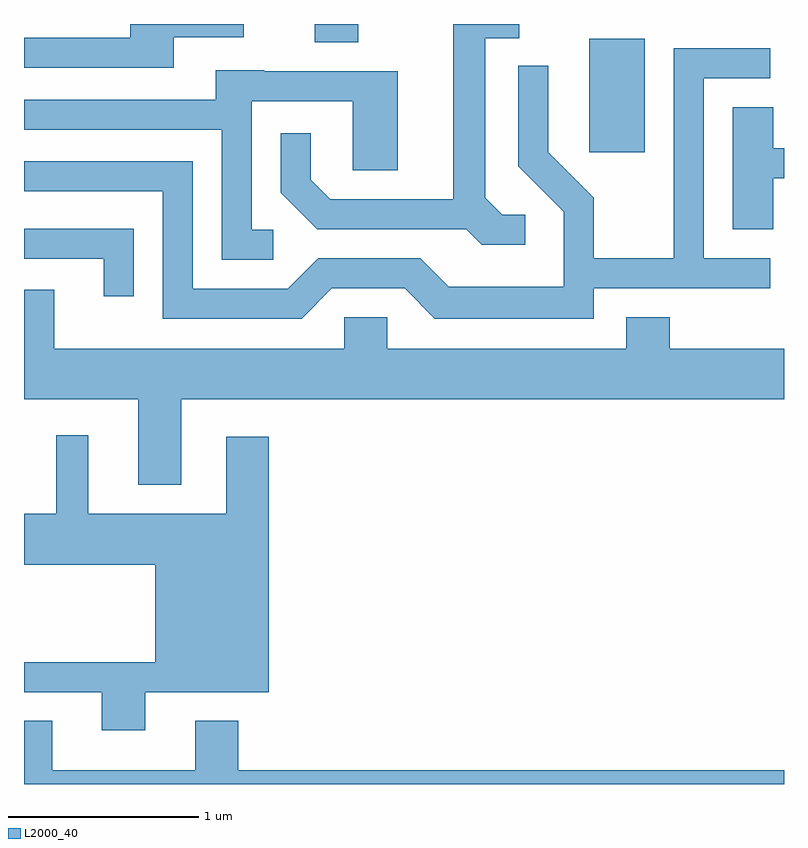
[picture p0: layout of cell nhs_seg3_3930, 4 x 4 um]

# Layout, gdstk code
import gdstk
lib = gdstk.Library(unit=1e-6, precision=1e-09)
def R(c, l, rs):  # rectangles x0, y0, x1, y1
    for r in rs: c.add(gdstk.rectangle(r[:2], r[2:], *l))
def P(c, l, *ps):  # polygons
    for p in ps: c.add(gdstk.Polygon(p, *l))
L2000_40 = (2000, 40)

nhs_seg3_3930 = lib.new_cell('nhs_seg3_3930')
R(nhs_seg3_3930, L2000_40, [(302.586,1227.216,302.879,1227.814), (301.141,1227.796,301.369,1227.892)])
P(nhs_seg3_3930, L2000_40, [(300.399,1227.821),(300.768,1227.821),(300.768,1227.892),(300.171,1227.892),(300.171,1227.819),(299.611,1227.819),(299.611,1227.661),(300.399,1227.661)],
  [(302.248,1226.889),(302.127,1226.889),(302.039,1226.977),(302.039,1227.816),(302.218,1227.816),(302.218,1227.892),(301.871,1227.892),(301.871,1226.969),(301.222,1226.969),(301.119,1227.072),(301.119,1227.318),(300.961,1227.318),(300.961,1227.004),(301.154,1226.811),(301.939,1226.811),(302.019,1226.731),(302.248,1226.731)],
  [(301.232,1226.501),(301.614,1226.501),(301.774,1226.341),(302.609,1226.341),(302.609,1226.501),(303.538,1226.501),(303.538,1226.659),(303.189,1226.659),(303.189,1227.606),(303.538,1227.606),(303.538,1227.764),(303.031,1227.764),(303.031,1226.659),(302.609,1226.659),(302.609,1226.977),(302.369,1227.217),(302.369,1227.673),(302.211,1227.673),(302.211,1227.144),(302.451,1226.904),(302.451,1226.509),(301.847,1226.509),(301.697,1226.659),(301.159,1226.659),(300.999,1226.499),(300.499,1226.499),(300.499,1227.169),(299.611,1227.169),(299.611,1227.011),(300.341,1227.011),(300.341,1226.341),(301.072,1226.341)],
  [(300.923,1226.809),(300.809,1226.809),(300.809,1227.486),(301.341,1227.486),(301.341,1227.121),(301.579,1227.121),(301.579,1227.644),(300.875,1227.644),(300.875,1227.649),(300.621,1227.649),(300.621,1227.494),(299.611,1227.494),(299.611,1227.336),(300.651,1227.336),(300.651,1226.651),(300.923,1226.651)],
  [(303.554,1227.081),(303.611,1227.081),(303.611,1227.239),(303.554,1227.239),(303.554,1227.454),(303.341,1227.454),(303.341,1226.811),(303.554,1226.811)],
  [(300.189,1226.814),(299.611,1226.814),(299.611,1226.656),(300.031,1226.656),(300.031,1226.458),(300.189,1226.458)],
  [(300.439,1225.916),(303.611,1225.916),(303.611,1226.184),(303.009,1226.184),(303.009,1226.349),(302.781,1226.349),(302.781,1226.184),(301.524,1226.184),(301.524,1226.349),(301.296,1226.349),(301.296,1226.184),(299.769,1226.184),(299.769,1226.494),(299.611,1226.494),(299.611,1225.916),(300.211,1225.916),(300.211,1225.466),(300.439,1225.466)],
  [(300.249,1224.376),(300.899,1224.376),(300.899,1225.719),(300.676,1225.719),(300.676,1225.314),(299.949,1225.314),(299.949,1225.728),(299.781,1225.728),(299.781,1225.314),(299.611,1225.314),(299.611,1225.046),(300.301,1225.046),(300.301,1224.534),(299.611,1224.534),(299.611,1224.376),(300.021,1224.376),(300.021,1224.176),(300.249,1224.176)],
  [(300.511,1224.224),(300.511,1223.964),(299.759,1223.964),(299.759,1224.224),(299.611,1224.224),(299.611,1223.892),(303.611,1223.892),(303.611,1223.964),(300.739,1223.964),(300.739,1224.224)])

lib.write_gds('nhs_seg3_3930.gds')
